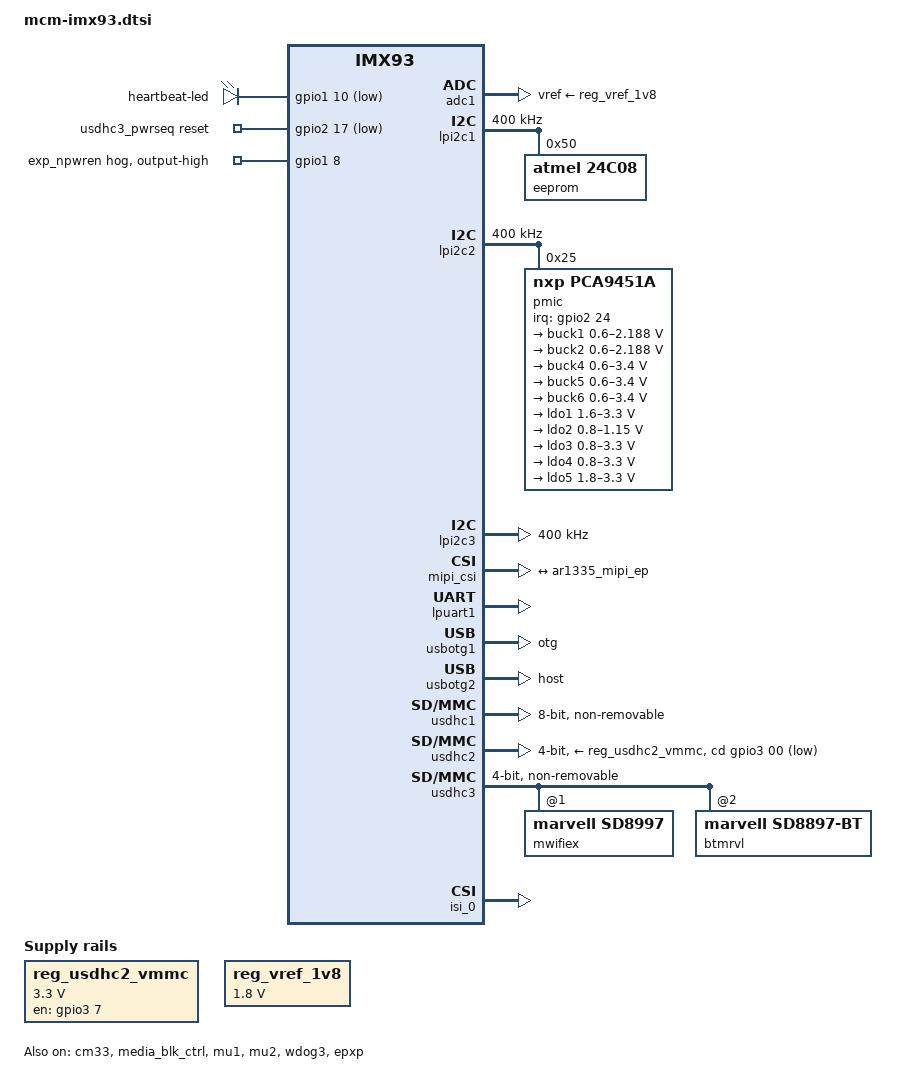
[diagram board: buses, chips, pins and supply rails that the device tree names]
// SPDX-License-Identifier: (GPL-2.0+ OR MIT)
/*
 * Copyright 2023 Compulab
 */

#include <dt-bindings/usb/pd.h>
#include "../freescale/imx93.dtsi"
#include "mcm-imx93-pinctrl.dtsi"

&ele_fw2 {
	memory-region = <&ele_reserved>;
};

/ {
	chosen {
		stdout-path = &lpuart1;
	};

	leds:leds {
		compatible = "gpio-leds";
		pinctrl-names = "default";
		pinctrl-0 = <&pinctrl_gpio_led>;

		heartbeat-led {
			gpios = <&gpio1 10 GPIO_ACTIVE_LOW>;
			linux,default-trigger = "heartbeat";
		};
	};

	reserved-memory {
		#address-cells = <2>;
		#size-cells = <2>;
		ranges;

		linux,cma {
			compatible = "shared-dma-pool";
			reusable;
			alloc-ranges = <0 0x80000000 0 0x95ffffff>;
			size = <0 0x8000000>;
			linux,cma-default;
		};

		ethosu_mem: ethosu_region@C0000000 {
			compatible = "shared-dma-pool";
			reusable;
			reg = <0x0 0xC0000000 0x0 0x10000000>;
		};

		vdev0vring0: vdev0vring0@a4000000 {
			reg = <0 0xa4000000 0 0x8000>;
			no-map;
		};

		vdev0vring1: vdev0vring1@a4008000 {
			reg = <0 0xa4008000 0 0x8000>;
			no-map;
		};

		vdev1vring0: vdev1vring0@a4000000 {
			reg = <0 0xa4010000 0 0x8000>;
			no-map;
		};

		vdev1vring1: vdev1vring1@a4018000 {
			reg = <0 0xa4018000 0 0x8000>;
			no-map;
		};

		rsc_table: rsc_table@2021f000 {
			reg = <0 0x2021f000 0 0x1000>;
			no-map;
		};

		vdevbuffer: vdevbuffer@84020000 {
			compatible = "shared-dma-pool";
			reg = <0 0xa4020000 0 0x100000>;
			no-map;
		};

		ele_reserved: ele-reserved@a4120000 {
			compatible = "shared-dma-pool";
			reg = <0 0xa4120000 0 0x100000>;
			no-map;
		};
	};

	ethosu {
		compatible = "arm,ethosu";
		fsl,cm33-proc = <&cm33>;
		memory-region = <&ethosu_mem>;
		power-domains = <&mlmix>;
	};

	reg_usdhc2_vmmc: regulator-usdhc2 {
		compatible = "regulator-fixed";
		pinctrl-names = "default";
		pinctrl-0 = <&pinctrl_reg_usdhc2_vmmc>;
		regulator-name = "VSD_3V3";
		regulator-min-microvolt = <3300000>;
		regulator-max-microvolt = <3300000>;
		gpio = <&gpio3 7 GPIO_ACTIVE_HIGH>;
		enable-active-high;
	};

	reg_vref_1v8: regulator-adc-vref {
		compatible = "regulator-fixed";
		regulator-name = "vref_1v8";
		regulator-min-microvolt = <1800000>;
		regulator-max-microvolt = <1800000>;
	};

	usdhc3_pwrseq: usdhc3_pwrseq {
		compatible = "mmc-pwrseq-simple";
		reset-gpios = <&gpio2 17 GPIO_ACTIVE_LOW>;
	};

	sound-micfil {
		compatible = "fsl,imx-audio-card";
		model = "imx-audio-micfil";
		pri-dai-link {
			link-name = "micfil hifi";
			format = "i2s";
			cpu {
				sound-dai = <&micfil>;
			};
		};
	};

	sound-xcvr {
		compatible = "fsl,imx-audio-card";
		model = "imx-audio-xcvr";
		pri-dai-link {
			link-name = "XCVR PCM";
			cpu {
				sound-dai = <&xcvr>;
			};
		};
	};
};

&aips2 {
	tpm5: pwm@42500000 {
		compatible = "fsl,imx7ulp-pwm";
		reg = <0x42500000 0x1000>;
		clocks = <&clk IMX93_CLK_TPM5_GATE>;
		assigned-clocks = <&clk IMX93_CLK_TPM5>;
		assigned-clock-parents = <&clk IMX93_CLK_24M>;
		assigned-clock-rates = <24000000>;
		#pwm-cells = <3>;
		status = "disabled";
	};
};

&sai3 {
	pinctrl-names = "default";
	pinctrl-0 = <&pinctrl_sai3>;
	assigned-clocks = <&clk IMX93_CLK_SAI3>;
	assigned-clock-parents = <&clk IMX93_CLK_AUDIO_PLL>;
	assigned-clock-rates = <12288000>;
	fsl,sai-mclk-direction-output;
	status = "disabled";
};

&micfil {
	#sound-dai-cells = <0>;
	pinctrl-names = "default";
	pinctrl-0 = <&pinctrl_pdm>;
	assigned-clocks = <&clk IMX93_CLK_PDM>;
	assigned-clock-parents = <&clk IMX93_CLK_AUDIO_PLL>;
	assigned-clock-rates = <49152000>;
	status = "disabled";
};

&xcvr {
	#sound-dai-cells = <0>;
	pinctrl-names = "default";
	pinctrl-0 = <&pinctrl_spdif>;
	clocks = <&clk IMX93_CLK_BUS_WAKEUP>,
		<&clk IMX93_CLK_SPDIF_GATE>,
		<&clk IMX93_CLK_DUMMY>,
		<&clk IMX93_CLK_AUD_XCVR_GATE>,
		<&clk IMX93_CLK_AUDIO_PLL>;
	clock-names = "ipg", "phy", "spba", "pll_ipg", "pll8k";
	assigned-clocks = <&clk IMX93_CLK_SPDIF>,
			 <&clk IMX93_CLK_AUDIO_XCVR>;
	assigned-clock-parents = <&clk IMX93_CLK_AUDIO_PLL>,
			 <&clk IMX93_CLK_SYS_PLL_PFD1_DIV2>;
	assigned-clock-rates = <12288000>, <200000000>;
	status = "disabled";
};

&adc1 {
	vref-supply = <&reg_vref_1v8>;
	status = "okay";
};

&cm33 {
	mbox-names = "tx", "rx", "rxdb";
	mboxes = <&mu1 0 1
		  &mu1 1 1
		  &mu1 3 1>;
	memory-region = <&vdevbuffer>, <&vdev0vring0>, <&vdev0vring1>,
			<&vdev1vring0>, <&vdev1vring1>, <&rsc_table>;
	fsl,startup-delay-ms = <500>;
	status = "okay";
};

&gpio1 {
	regulator-gpioexp {
		gpio-hog;
		gpios = <8 GPIO_ACTIVE_HIGH>;
		line-name = "exp_npwren";
		output-high;
		pinctrl-names = "default";
		pinctrl-0 = <&pinctrl_gpioexp>;
	};
};

&lpi2c1 {
	#address-cells = <1>;
	#size-cells = <0>;
	clock-frequency = <400000>;
	pinctrl-names = "default", "sleep";
	pinctrl-0 = <&pinctrl_lpi2c1>;
	pinctrl-1 = <&pinctrl_lpi2c1>;
	status = "okay";

	eeprom@50 {
		compatible = "atmel,24c08";
		reg = <0x50>;
		pagesize = <16>;
	};
};

&lpi2c2 {
	#address-cells = <1>;
	#size-cells = <0>;
	clock-frequency = <400000>;
	pinctrl-names = "default", "sleep";
	pinctrl-0 = <&pinctrl_lpi2c2>;
	pinctrl-1 = <&pinctrl_lpi2c2>;
	status = "okay";

	pmic@25 {
		compatible = "nxp,pca9451a";
		reg = <0x25>;
		pinctrl-names = "default";
		pinctrl-0 = <&pinctrl_pmic>;
		interrupt-parent = <&gpio2>;
		interrupts = <24 IRQ_TYPE_LEVEL_LOW>;

		regulators {
			buck1: BUCK1 {
				regulator-name = "BUCK1";
				regulator-min-microvolt = <600000>;
				regulator-max-microvolt = <2187500>;
				regulator-boot-on;
				regulator-always-on;
				regulator-ramp-delay = <3125>;
			};

			buck2: BUCK2 {
				regulator-name = "BUCK2";
				regulator-min-microvolt = <600000>;
				regulator-max-microvolt = <2187500>;
				regulator-boot-on;
				regulator-always-on;
				regulator-ramp-delay = <3125>;
			};

			buck4: BUCK4{
				regulator-name = "BUCK4";
				regulator-min-microvolt = <600000>;
				regulator-max-microvolt = <3400000>;
				regulator-boot-on;
				regulator-always-on;
			};

			buck5: BUCK5{
				regulator-name = "BUCK5";
				regulator-min-microvolt = <600000>;
				regulator-max-microvolt = <3400000>;
				regulator-boot-on;
				regulator-always-on;
			};

			buck6: BUCK6 {
				regulator-name = "BUCK6";
				regulator-min-microvolt = <600000>;
				regulator-max-microvolt = <3400000>;
				regulator-boot-on;
				regulator-always-on;
			};

			ldo1: LDO1 {
				regulator-name = "LDO1";
				regulator-min-microvolt = <1600000>;
				regulator-max-microvolt = <3300000>;
				regulator-boot-on;
				regulator-always-on;
			};

			ldo2: LDO2 {
				regulator-name = "LDO2";
				regulator-min-microvolt = <800000>;
				regulator-max-microvolt = <1150000>;
				regulator-boot-on;
				regulator-always-on;
			};

			ldo3: LDO3 {
				regulator-name = "LDO3";
				regulator-min-microvolt = <800000>;
				regulator-max-microvolt = <3300000>;
				regulator-boot-on;
				regulator-always-on;
			};

			ldo4: LDO4 {
				regulator-name = "LDO4";
				regulator-min-microvolt = <800000>;
				regulator-max-microvolt = <3300000>;
				regulator-boot-on;
				regulator-always-on;
			};

			ldo5: LDO5 {
				regulator-name = "LDO5";
				regulator-min-microvolt = <1800000>;
				regulator-max-microvolt = <3300000>;
				regulator-boot-on;
				regulator-always-on;
			};
		};
	};
};

&lpi2c3 {
	#address-cells = <1>;
	#size-cells = <0>;
	clock-frequency = <400000>;
	pinctrl-names = "default", "sleep";
	pinctrl-0 = <&pinctrl_lpi2c3>;
	pinctrl-1 = <&pinctrl_lpi2c3>;
	status = "okay";

	sensor_mipi2: mipi2@42 {
		compatible = "aptina,ar1335_mcu";
		reg = <0x42>;
		clocks = <&clk IMX93_CLK_MIPI_PHY_CFG>;
		clock-names = "xclk";
		pwdn-gpios = <&pca9555 8 GPIO_ACTIVE_HIGH>;
		pwn-gpios = <&pca9555 8 GPIO_ACTIVE_HIGH>;
		rst-gpios = <&pca9555 9 GPIO_ACTIVE_LOW>;
		mclk = <24000000>;
		mclk_source = <0>;
		mipi_csi;
		camera_mipi_lanes = <2>;
		status = "disabled";

		port {
			ar1335_mipi_ep: endpoint {
				remote-endpoint = <&mipi_csi_ep>;
				data-lanes = <1 2>;
				clock-lanes = <0>;
			};
		};
	};
};

&mipi_csi {
        #address-cells = <1>;
        #size-cells = <0>;
        status = "okay";

        port@0 {
                reg = <0>;
                mipi_csi_ep: endpoint {
                        remote-endpoint = <&ar1335_mipi_ep>;
                        data-lanes = <2>;
                        cfg-clk-range = <28>;
                        hs-clk-range = <0x2b>;
                        bus-type = <4>;
                };
        };
};

&lpuart1 { /* console */
	pinctrl-names = "default";
	pinctrl-0 = <&pinctrl_uart1>;
	status = "okay";
};

&media_blk_ctrl {
	status = "okay";
};

&mu1 {
	status = "okay";
};

&mu2 {
	status = "okay";
};

&usbotg1 {
	dr_mode = "otg";
	disable-over-current;
	samsung,picophy-pre-emp-curr-control = <3>;
	samsung,picophy-dc-vol-level-adjust = <7>;
	status = "okay";
};

&usbotg2 {
	dr_mode = "host";
	hnp-disable;
	srp-disable;
	adp-disable;
	/*usb-role-switch;*/
	disable-over-current;
	samsung,picophy-pre-emp-curr-control = <3>;
	samsung,picophy-dc-vol-level-adjust = <7>;
	status = "okay";
};

&usdhc1 {
	pinctrl-names = "default", "state_100mhz", "state_200mhz";
	pinctrl-0 = <&pinctrl_usdhc1>;
	pinctrl-1 = <&pinctrl_usdhc1>;
	pinctrl-2 = <&pinctrl_usdhc1>;
	bus-width = <8>;
	non-removable;
	status = "okay";
};

&usdhc2 {
	pinctrl-names = "default", "state_100mhz", "state_200mhz";
	pinctrl-0 = <&pinctrl_usdhc2>, <&pinctrl_usdhc2_gpio>;
	pinctrl-1 = <&pinctrl_usdhc2>, <&pinctrl_usdhc2_gpio>;
	pinctrl-2 = <&pinctrl_usdhc2>, <&pinctrl_usdhc2_gpio>;
	cd-gpios = <&gpio3 00 GPIO_ACTIVE_LOW>;
	vmmc-supply = <&reg_usdhc2_vmmc>;
	bus-width = <4>;
	status = "okay";
	no-sdio;
	no-mmc;
};

&usdhc3 {
	#address-cells = <1>;
	#size-cells = <0>;
	pinctrl-names = "default", "state_100mhz", "state_200mhz";
	pinctrl-0 = <&pinctrl_usdhc3>, <&pinctrl_usdhc3_wlan>;
	pinctrl-1 = <&pinctrl_usdhc3>, <&pinctrl_usdhc3_wlan>;
	pinctrl-2 = <&pinctrl_usdhc3>, <&pinctrl_usdhc3_wlan>;
	mmc-pwrseq = <&usdhc3_pwrseq>;
	bus-width = <4>;
	non-removable;
	wakeup-source;
	no-1-8-v;
	status = "okay";

	mwifiex: wifi@1 {
		compatible = "marvell,sd8997";
		reg = <1>;
	};

	btmrvl: btmrvl@2 {
		compatible = "marvell,sd8897-bt";
		reg = <2>;
	};
};

&wdog3 {
	status = "okay";
};

&epxp {
	status = "okay";
};

&cameradev {
	status = "disabled";
};

&isi_0 {
	status = "okay";

	cap_device {
		status = "okay";
	};
};
